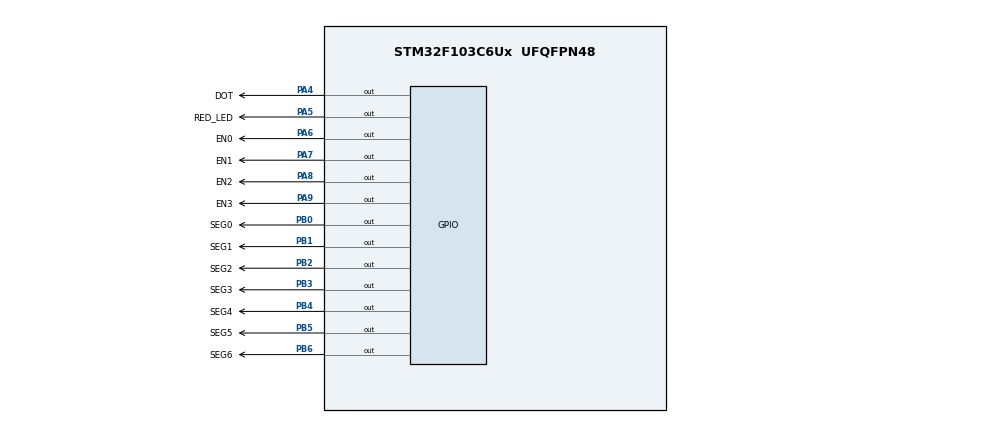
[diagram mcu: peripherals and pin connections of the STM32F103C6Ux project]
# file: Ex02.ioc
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Mcu.Family=STM32F1
Mcu.Name=STM32F103C6Ux
Mcu.Package=UFQFPN48
NVIC.PriorityGroup=NVIC_PRIORITYGROUP_4
NVIC.TIM2_IRQn=true\:0\:0\:false\:false\:true\:true\:true
PA4.GPIO_Label=DOT
PA4.Signal=GPIO_Output
PA5.GPIO_Label=RED_LED
PA5.Signal=GPIO_Output
PA6.GPIO_Label=EN0
PA6.Signal=GPIO_Output
PA7.GPIO_Label=EN1
PA7.Signal=GPIO_Output
PA8.GPIO_Label=EN2
PA8.Signal=GPIO_Output
PA9.GPIO_Label=EN3
PA9.Signal=GPIO_Output
PB0.GPIO_Label=SEG0
PB0.Signal=GPIO_Output
PB1.GPIO_Label=SEG1
PB1.Signal=GPIO_Output
PB2.GPIO_Label=SEG2
PB2.Signal=GPIO_Output
PB3.GPIO_Label=SEG3
PB3.Signal=GPIO_Output
PB4.GPIO_Label=SEG4
PB4.Signal=GPIO_Output
PB5.GPIO_Label=SEG5
PB5.Signal=GPIO_Output
PB6.GPIO_Label=SEG6
PB6.Signal=GPIO_Output
ProjectManager.HeapSize=0x200
ProjectManager.StackSize=0x400
ProjectManager.TargetToolchain=STM32CubeIDE
RCC.APB1Freq_Value=8000000
RCC.APB2Freq_Value=8000000
TIM2.Period=9
TIM2.Prescaler=7999
VP_SYS_VS_ND.Mode=No_Debug
VP_TIM2_VS_ClockSourceINT.Mode=Internal
board=custom

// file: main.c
/* USER CODE BEGIN Header */
/**
  ******************************************************************************
  * @file           : main.c
  * @brief          : Main program body
  ******************************************************************************
  * @attention
  *
  * <h2><center>&copy; Copyright (c) 2024 STMicroelectronics.
  * All rights reserved.</center></h2>
  *
  * This software component is licensed by ST under BSD 3-Clause license,
  * the "License"; You may not use this file except in compliance with the
  * License. You may obtain a copy of the License at:
  *                        opensource.org/licenses/BSD-3-Clause
  *
  ******************************************************************************
  */
/* USER CODE END Header */
#include "main.h"

TIM_HandleTypeDef htim2;

/* USER CODE BEGIN PV */
int current_display = 3;           // To track which display is currently active
int counter = 50;                  // Timer counter for 0.5 second
int dot_status = 0;                // Track DOT LED state (ON/OFF)
/* USER CODE END PV */

void SystemClock_Config(void);
static void MX_GPIO_Init(void);
static void MX_TIM2_Init(void);
/* USER CODE BEGIN PFP */
void display7SEG(int);
void update7SEG(int);
void toggleDotLED(void);
/* USER CODE END PFP */

int main(void)
{

  /* MCU Configuration--------------------------------------------------------*/

  /* Reset of all peripherals, Initializes the Flash interface and the Systick. */
  HAL_Init();

  /* Configure the system clock */
  SystemClock_Config();

  /* Initialize all configured peripherals */
  MX_GPIO_Init();
  MX_TIM2_Init();
  /* USER CODE BEGIN 2 */
  HAL_TIM_Base_Start_IT(&htim2);
  /* USER CODE END 2 */

  /* Infinite loop */
  while (1)
  {

  }
}

void SystemClock_Config(void)
{
  RCC_OscInitTypeDef RCC_OscInitStruct = {0};
  RCC_ClkInitTypeDef RCC_ClkInitStruct = {0};

  /** Initializes the RCC Oscillators according to the specified parameters
  * in the RCC_OscInitTypeDef structure.
  */
  RCC_OscInitStruct.OscillatorType = RCC_OSCILLATORTYPE_HSI;
  RCC_OscInitStruct.HSIState = RCC_HSI_ON;
  RCC_OscInitStruct.HSICalibrationValue = RCC_HSICALIBRATION_DEFAULT;
  RCC_OscInitStruct.PLL.PLLState = RCC_PLL_NONE;
  if (HAL_RCC_OscConfig(&RCC_OscInitStruct) != HAL_OK)
  {
    Error_Handler();
  }
  /** Initializes the CPU, AHB and APB buses clocks
  */
  RCC_ClkInitStruct.ClockType = RCC_CLOCKTYPE_HCLK|RCC_CLOCKTYPE_SYSCLK
                              |RCC_CLOCKTYPE_PCLK1|RCC_CLOCKTYPE_PCLK2;
  RCC_ClkInitStruct.SYSCLKSource = RCC_SYSCLKSOURCE_HSI;
  RCC_ClkInitStruct.AHBCLKDivider = RCC_SYSCLK_DIV1;
  RCC_ClkInitStruct.APB1CLKDivider = RCC_HCLK_DIV1;
  RCC_ClkInitStruct.APB2CLKDivider = RCC_HCLK_DIV1;

  if (HAL_RCC_ClockConfig(&RCC_ClkInitStruct, FLASH_LATENCY_0) != HAL_OK)
  {
    Error_Handler();
  }
}

static void MX_TIM2_Init(void)
{

  TIM_ClockConfigTypeDef sClockSourceConfig = {0};
  TIM_MasterConfigTypeDef sMasterConfig = {0};

  htim2.Instance = TIM2;
  htim2.Init.Prescaler = 7999;
  htim2.Init.CounterMode = TIM_COUNTERMODE_UP;
  htim2.Init.Period = 9;
  htim2.Init.ClockDivision = TIM_CLOCKDIVISION_DIV1;
  htim2.Init.AutoReloadPreload = TIM_AUTORELOAD_PRELOAD_DISABLE;
  if (HAL_TIM_Base_Init(&htim2) != HAL_OK)
  {
    Error_Handler();
  }
  sClockSourceConfig.ClockSource = TIM_CLOCKSOURCE_INTERNAL;
  if (HAL_TIM_ConfigClockSource(&htim2, &sClockSourceConfig) != HAL_OK)
  {
    Error_Handler();
  }
  sMasterConfig.MasterOutputTrigger = TIM_TRGO_RESET;
  sMasterConfig.MasterSlaveMode = TIM_MASTERSLAVEMODE_DISABLE;
  if (HAL_TIMEx_MasterConfigSynchronization(&htim2, &sMasterConfig) != HAL_OK)
  {
    Error_Handler();
  }

}

static void MX_GPIO_Init(void)
{
  GPIO_InitTypeDef GPIO_InitStruct = {0};

  /* GPIO Ports Clock Enable */
  __HAL_RCC_GPIOA_CLK_ENABLE();
  __HAL_RCC_GPIOB_CLK_ENABLE();

  /*Configure GPIO pin Output Level */
  HAL_GPIO_WritePin(GPIOA, DOT_Pin|RED_LED_Pin|EN0_Pin|EN1_Pin
                          |EN2_Pin|EN3_Pin, GPIO_PIN_RESET);

  /*Configure GPIO pin Output Level */
  HAL_GPIO_WritePin(GPIOB, SEG0_Pin|SEG1_Pin|SEG2_Pin|SEG3_Pin
                          |SEG4_Pin|SEG5_Pin|SEG6_Pin, GPIO_PIN_RESET);

  /*Configure GPIO pins : DOT_Pin RED_LED_Pin EN0_Pin EN1_Pin
                           EN2_Pin EN3_Pin */
  GPIO_InitStruct.Pin = DOT_Pin|RED_LED_Pin|EN0_Pin|EN1_Pin
                          |EN2_Pin|EN3_Pin;
  GPIO_InitStruct.Mode = GPIO_MODE_OUTPUT_PP;
  GPIO_InitStruct.Pull = GPIO_NOPULL;
  GPIO_InitStruct.Speed = GPIO_SPEED_FREQ_LOW;
  HAL_GPIO_Init(GPIOA, &GPIO_InitStruct);

  /*Configure GPIO pins : SEG0_Pin SEG1_Pin SEG2_Pin SEG3_Pin
                           SEG4_Pin SEG5_Pin SEG6_Pin */
  GPIO_InitStruct.Pin = SEG0_Pin|SEG1_Pin|SEG2_Pin|SEG3_Pin
                          |SEG4_Pin|SEG5_Pin|SEG6_Pin;
  GPIO_InitStruct.Mode = GPIO_MODE_OUTPUT_PP;
  GPIO_InitStruct.Pull = GPIO_NOPULL;
  GPIO_InitStruct.Speed = GPIO_SPEED_FREQ_LOW;
  HAL_GPIO_Init(GPIOB, &GPIO_InitStruct);

}

/* USER CODE BEGIN 4 */
void HAL_TIM_PeriodElapsedCallback(TIM_HandleTypeDef *htim)
{
    if(htim->Instance == TIM2)
    {
        counter--;
        if(counter <= 0)
        {
            counter = 50;  // Reset counter for 0.5 second
            current_display = (current_display + 1) % 4;  // Switch between 4 displays (0-3)
            update7SEG(current_display);  // Update the current display

            // Toggle DOT every second (counter runs for 0.5 seconds per switch, so check every 2 switches)
            if(current_display == 0 || current_display == 2)  // 2 switches = 1 second
            {
                toggleDotLED();  // Toggle the DOT LED state
            }
        }
    }
}

void update7SEG(int index)
{
    switch (index)
    {
        case 0:
            HAL_GPIO_WritePin(GPIOA, EN0_Pin, GPIO_PIN_RESET);
            HAL_GPIO_WritePin(GPIOA, EN1_Pin | EN2_Pin | EN3_Pin, GPIO_PIN_SET);
            display7SEG(1);  // Display number 1
            break;

        case 1:
            HAL_GPIO_WritePin(GPIOA, EN1_Pin, GPIO_PIN_RESET);
            HAL_GPIO_WritePin(GPIOA, EN0_Pin | EN2_Pin | EN3_Pin, GPIO_PIN_SET);
            display7SEG(2);  // Display number 2
            break;

        case 2:
            HAL_GPIO_WritePin(GPIOA, EN2_Pin, GPIO_PIN_RESET);
            HAL_GPIO_WritePin(GPIOA, EN0_Pin | EN1_Pin | EN3_Pin, GPIO_PIN_SET);
            display7SEG(3);  // Display number 3
            break;

        case 3:
            HAL_GPIO_WritePin(GPIOA, EN3_Pin, GPIO_PIN_RESET);
            HAL_GPIO_WritePin(GPIOA, EN0_Pin | EN1_Pin | EN2_Pin, GPIO_PIN_SET);
            display7SEG(0);  // Display number 0
            break;
    }
}

void display7SEG(int num)
{
    switch(num)
    {
        case 0:
            HAL_GPIO_WritePin(GPIOB, SEG0_Pin | SEG1_Pin | SEG2_Pin | SEG3_Pin | SEG4_Pin | SEG5_Pin, GPIO_PIN_RESET);
            HAL_GPIO_WritePin(GPIOB, SEG6_Pin, GPIO_PIN_SET);  // Display '0'
            break;
        case 1:
            HAL_GPIO_WritePin(GPIOB, SEG1_Pin | SEG2_Pin, GPIO_PIN_RESET);
            HAL_GPIO_WritePin(GPIOB, SEG0_Pin | SEG3_Pin | SEG4_Pin | SEG5_Pin | SEG6_Pin, GPIO_PIN_SET);  // Display '1'
            break;
        case 2:
            HAL_GPIO_WritePin(GPIOB, SEG0_Pin | SEG1_Pin | SEG3_Pin | SEG4_Pin | SEG6_Pin, GPIO_PIN_RESET);
            HAL_GPIO_WritePin(GPIOB, SEG2_Pin | SEG5_Pin, GPIO_PIN_SET);  // Display '2'
            break;
        case 3:
            HAL_GPIO_WritePin(GPIOB, SEG0_Pin | SEG1_Pin | SEG2_Pin | SEG3_Pin | SEG6_Pin, GPIO_PIN_RESET);
            HAL_GPIO_WritePin(GPIOB, SEG4_Pin | SEG5_Pin, GPIO_PIN_SET);  // Display '3'
            break;
        // Add other numbers if needed
        default:
            break;
    }
}

void toggleDotLED(void)
{
    dot_status = !dot_status;  // Toggle the DOT state
    HAL_GPIO_WritePin(GPIOA, DOT_Pin, dot_status ? GPIO_PIN_SET : GPIO_PIN_RESET);  // Toggle PA4 (DOT)
}
/* USER CODE END 4 */

void Error_Handler(void)
{
  __disable_irq();
  while (1)
  {
  }
}

/************************ (C) COPYRIGHT STMicroelectronics *****END OF FILE****/
